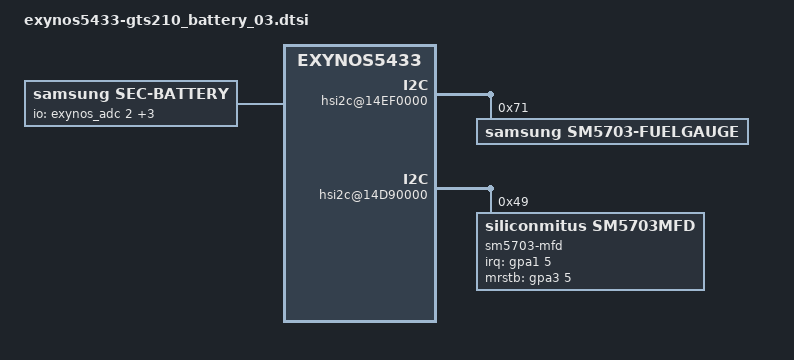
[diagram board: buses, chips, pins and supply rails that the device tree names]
/*
 * SAMSUNG UNIVERSAL5430 board device tree source
 *
 * Copyright (c) 2013 Samsung Electronics Co., Ltd.
 *		http://www.samsung.com
 *
 * This program is free software; you can redistribute it and/or modify
 * it under the terms of the GNU General Public License version 2 as
 * published by the Free Software Foundation.
*/

/ {
	pinctrl@10580000 {
		fuel_irq: fuel-irq {
			samsung,pins = "gpa1-4";
			samsung,pin-function = <0>;
			samsung,pin-pud = <0>;
			samsung,pin-drv = <0>;
		};
	};

	pinctrl@14CC0000 {
		chg_en: chg-en {
			samsung,pins = "gpg3-6";
			samsung,pin-function = <1>;
			samsung,pin-pud = <0>;
			samsung,pin-drv = <0>;
		};
	};

	pinctrl@14CE0000 {
		factory_discharging: factory-discharging {
			samsung,pins = "gpj1-2";
			samsung,pin-function = <1>;
			samsung,pin-pud = <1>;
		};
	};

	hsi2c@14EF0000 {
		status = "okay";
		sm5703-fuelgauge@71 {
			compatible = "samsung,sm5703-fuelgauge";
			reg = <0x71>;
			pinctrl-names = "default";
			pinctrl-0 = <&fuel_irq>;
			fuelgauge,fuel_int = <&gpa1 4 0>;
			fuelgauge,fuel_alert_soc = <2>;
			fuelgauge,capacity_max = <990>;
			fuelgauge,capacity_max_margin = <60>;
			fuelgauge,capacity_min = <0>;
			fuelgauge,capacity_calculation_type = <12>;
			fuelgauge,type_str = "SDI";
		};
	};

	battery_params {
		battery,id = <0>; /* -1 means auto, detected by F/G */
		battery0,battery_type = <4350>; /* 4200 4350 4400 */
		battery0,battery_table0 = <0x1400 0x1B33 0x1B99 0x1C81 0x1D61 0x1D8C 0x1DF1 0x1E32 0x1EC9 0x1F34 0x1FA6 0x1FD9 0x2072 0x20F3 0x22C4 0x2399>;
		battery0,battery_table1 = <0x1400 0x1B33 0x1B99 0x1C81 0x1D61 0x1D8C 0x1DF1 0x1E32 0x1EC9 0x1F34 0x1FA6 0x1FD9 0x2072 0x20F3 0x22C4 0x2399>;
		battery0,battery_table2 = <0x0 0x6C 0xB4 0x12C 0x259 0x385 0x70B 0xBBD 0x177A 0x1B00 0x1D59 0x1FB2 0x220B 0x2591 0x2EF5 0x2F61>;
		battery0,temp_std = <25>;
		battery0,temp_offset = <10>;
		battery0,temp_offset_cal = <0x01>;
		battery0,charge_offset_cal = <(-0x06)>;
		battery0,rce_value = <0x0749 0x0580 0x371>;
		battery0,dtcd_value = <0x1>;
		battery0,rs_value = <0x1ae 0x47a 0x3800 0x00a4>; /*rs mix_factor max min*/
		battery0,vit_period = <0x350a>;
		battery0,mix_value = <0x0a03 0x0004>; /*mix_rate init_blank*/
		battery0,topoff_soc = <0x0 0x101>; /* disable soc */
		battery0,volt_cal = <0x8000>;
		battery0,curr_cal = <0x7E00>;
	};

	battery {
		status = "okay";

		pinctrl-names = "default";
		pinctrl-0 = <&factory_discharging>;

		battery,factory_discharging = <&gpj1 2 0>;

		compatible = "samsung,sec-battery";
		battery,vendor = "SDI SDI";
		battery,charger_name = "sm5703-charger";
		battery,fuelgauge_name = "sm5703-fuelgauge";
		battery,technology = <2>; /* POWER_SUPPLY_TECHNOLOGY_LION */
		/* .temp_cohot = -1000; */
		/* .temp_cocold = -4325; */

		battery,chip_vendor = "LSI";
		battery,temp_adc_type = <1>; /* SEC_BATTERY_ADC_TYPE_AP */

		battery,polling_time = <10 30 30 30 3600>;

		battery,temp_table_adc = <429 489 556 639 722 824 851 878 904 931 955 979 1003 1027  1051 1077 1103
					 1131 1159 1187 1235 1284 1333 1518 1655 1792 1978 2165 2363 2562 2758 2794
					 2829 2865 2901 2937 2981 3025 3069 3094 3119 3149 3179 3209 3239 3269 3396 3504>;

		battery,temp_table_data = <900 850 800 750 700 650 630 620 610 600 590
					  580 570 560 550 540 530 520 510 500 490 480 450
					  400 350 300 250 200 150 100 50 40 30 20 10 0 (-10)
					  (-20) (-30) (-40) (-50) (-60) (-70) (-80) (-90) (-100) (-150) (-200)>;

		battery,input_current_limit = <1750 0 0 1750 460 900 1000 460 1000 0 760 1750 1750 0 1400 400 700 1300 300 1000 1600 0 1667 1000 1667 80 1750 1667 1400 450>;
		battery,fast_charging_current = <2100 0 0 2100 460 1200 1000 460 1200 0 900 1600 2100 0 1400 400 700 1300 300 1000 1900 0 3150 1000 3150 80 1800 1000 1400 450>;
		battery,full_check_current_1st = <300 0 0 300 300 300 300 300 300 0 300 300 300 0 300 300 300 300 300 300 300 0 300 300 300 0 300 300 300 300>;
		battery,full_check_current_2nd = <300 0 0 300 300 300 300 300 300 0 300 300 300 0 300 300 300 300 300 300 300 0 300 300 300 0 300 300 300 300>;

		battery,inbat_voltage = <1>;
		battery,inbat_voltage_table_adc = <3120 3101 3061 3038 3001 2956 2920 2887 2856 2814
						2793 2754 2720 2677 2641 2613 2572 2531 2502 2467 2436>;
		battery,inbat_voltage_table_data = <438 435 430 425 420 415 410 405 400 395
						390 385 380 375 370 365 360 355 350 345 340>;

		battery,adc_check_count = <5>;

		battery,cable_check_type = <4>; /* SEC_BATTERY_CABLE_CHECK_NOUSBCHARGE | SEC_BATTERY_CABLE_CHECK_PSY */
		battery,cable_source_type = <1>; /* SEC_BATTERY_CABLE_SOURCE_EXTERNAL */
		battery,event_waiting_time = <600>;
		battery,polling_type = <1>; /* SEC_BATTERY_MONITOR_ALARM */
		battery,monitor_initial_count = <0>;

		battery,battery_check_type = <0>; /* SEC_BATTERY_CHECK_CHARGER */
		battery,check_count = <0>;
		battery,check_adc_max = <1440>;
		battery,check_adc_min = <0>;

		battery,ovp_uvlo_check_type = <3>; /* SEC_BATTERY_OVP_UVLO_CHGPOLLING */

		battery,thermal_source = <2>; /* SEC_BATTERY_THERMAL_SOURCE_ADC */

		battery,temp_check_type = <2>; /* SEC_BATTERY_TEMP_CHECK_TEMP */
		battery,temp_check_count = <1>;
		battery,temp_highlimit_threshold_event = <800>;
		battery,temp_highlimit_recovery_event = <750>;
		battery,temp_high_threshold_event = <550>;
		battery,temp_high_recovery_event = <500>;
		battery,temp_low_threshold_event = <(-50)>;
		battery,temp_low_recovery_event = <0>;
		battery,temp_highlimit_threshold_normal = <800>;
		battery,temp_highlimit_recovery_normal = <750>;
		battery,temp_high_threshold_normal = <550>;
		battery,temp_high_recovery_normal = <500>;
		battery,temp_low_threshold_normal = <(-50)>;
		battery,temp_low_recovery_normal = <0>;
		battery,temp_highlimit_threshold_lpm = <800>;
		battery,temp_highlimit_recovery_lpm = <750>;
		battery,temp_high_threshold_lpm = <550>;
		battery,temp_high_recovery_lpm = <500>;
		battery,temp_low_threshold_lpm = <(-50)>;
		battery,temp_low_recovery_lpm = <0>;
		battery,full_check_type = <2>; /* SEC_BATTERY_FULLCHARGED_FG_CURRENT */
		battery,full_check_type_2nd = <0>; /* SEC_BATTERY_FULLCHARGED_NONE */
		battery,full_check_count = <3>;
		battery,chg_gpio_full_check = <0>;
		battery,chg_polarity_full_check = <1>;

		/* SEC_BATTERY_FULL_CONDITION_SOC |
		   SEC_BATTERY_FULL_CONDITION_NOTIMEFULL |
		   SEC_BATTERY_FULL_CONDITION_VCELL */
		battery,full_condition_type = <13>;
		battery,full_condition_soc = <93>;
		battery,full_condition_vcell = <4300>;

		battery,recharge_check_count = <2>;
		battery,recharge_condition_type = <4>; /* SEC_BATTERY_RECHARGE_CONDITION_VCELL */
		battery,recharge_condition_soc = <98>;
		battery,recharge_condition_vcell = <4300>;

		battery,charging_total_time = <36000>;
		battery,recharging_total_time = <5400>;
		battery,charging_reset_time = <0>;

		battery,always_enable;

		io-channels = <&exynos_adc 2>, <&exynos_adc 1>, <&exynos_adc 4>, <&exynos_adc 3>;
		io-channel-names = "adc-temp", "in-bat-adc", "discharging-check-adc", "vf-adc";
		#io-channel-cells = <1>;
		io-channel-ranges;

		battery,chg_float_voltage = <4350>;

		battery,self_discharging_en;
		battery,force_discharging_limit = <650>;
		battery,force_discharging_recov = <550>;
		battery,self_discharging_voltage_limit = <4250>;
		battery,discharging_adc_max = <2600>;
		battery,discharging_adc_min = <1700>;
		battery,discharging_ntc_limit = <2750>;

		battery,swelling_high_temp_block = <450>;
		battery,swelling_high_temp_recov = <400>;
		battery,swelling_low_temp_block = <100>;
		battery,swelling_low_temp_recov = <150>;
		battery,swelling_chg_current = <2100>;
		battery,swelling_topoff_current = <300>;
		battery,swelling_drop_float_voltage = <4150>;
		battery,swelling_high_rechg_voltage = <4000>;
		battery,swelling_low_rechg_voltage = <4000>;
		battery,swelling_block_time = <600>;
	};

	hsi2c@14D90000 {
		status = "okay";
		sm5703-mfd@49 {
			compatible = "siliconmitus,sm5703mfd";
			reg = <0x49>;
			pinctrl-names = "default";
			pinctrl-0 = <&chg_en &if_pmic_irq>;
			sm5703,irq-gpio = <&gpa1 5 0>;
			sm5703,mrstb-gpio = <&gpa3 5 0>;
		};
	};

	charger {
		status = "disable";
		compatible = "siliconmitus,sm5703-charger";

		/* Charger */
		battery,charger_name = "sm5703-charger";
		battery,chg_gpio_en = <&gpg3 6 0>;
		battery,chg_polarity_en = <0>;
		battery,chg_gpio_status = <0>;
		battery,chg_polarity_status = <0>;
		battery,chg_float_voltage = <4400>;
		chg_autostop = <1>;
		chg_autoset = <1>;
		chg_aiclen = <1>;
		chg_aiclth = <4300>;
		chg_vbuslimit = <0>;
		fg_vol_val = <4350>;
		fg_soc_val = <95>;
		fg_curr_avr_val = <150>;
		otg_current = <900>; /* used special case(other projects used 1200mA) */
	};
};
